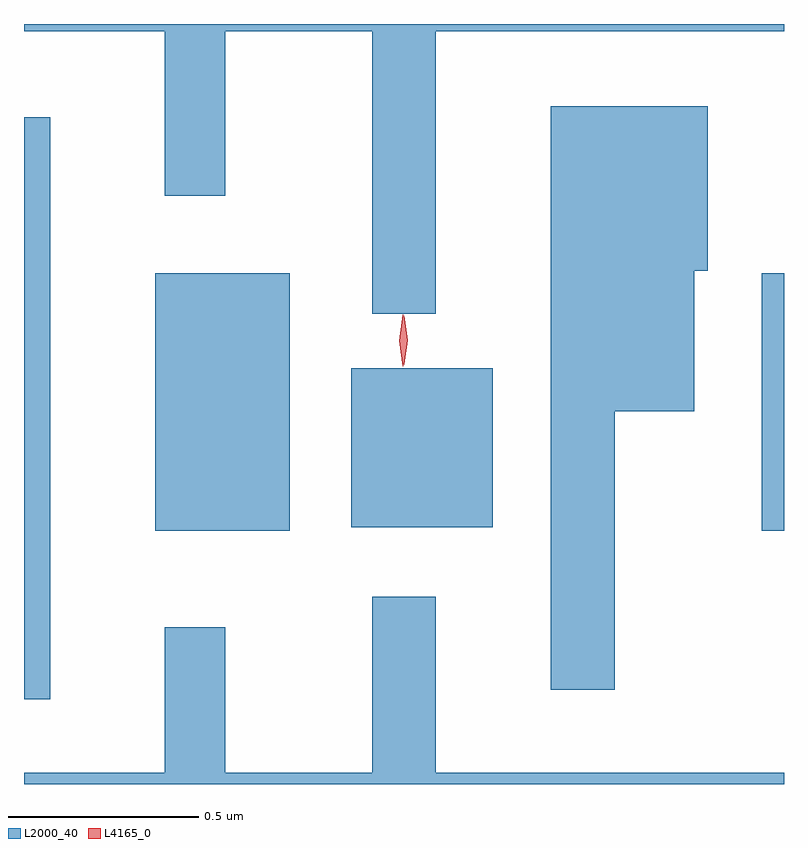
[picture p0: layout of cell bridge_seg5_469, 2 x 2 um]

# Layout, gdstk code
import gdstk
lib = gdstk.Library(unit=1e-6, precision=1e-09)
def R(c, l, rs):  # rectangles x0, y0, x1, y1
    for r in rs: c.add(gdstk.rectangle(r[:2], r[2:], *l))
def P(c, l, *ps):  # polygons
    for p in ps: c.add(gdstk.Polygon(p, *l))
L2000_40 = (2000, 40)
L4165_0 = (4165, 0)

bridge_seg5_469 = lib.new_cell('bridge_seg5_469')
R(bridge_seg5_469, L2000_40, [(312.855,1499.438,312.924,1500.969), (313.201,1499.881,313.554,1500.559), (314.796,1499.881,314.855,1500.559), (313.716,1499.891,314.089,1500.309)])
P(bridge_seg5_469, L2000_40, [(313.939,1501.196),(314.855,1501.196),(314.855,1501.215),(312.855,1501.215),(312.855,1501.196),(313.226,1501.196),(313.226,1500.763),(313.384,1500.763),(313.384,1501.196),(313.771,1501.196),(313.771,1500.453),(313.939,1500.453)],
  [(314.409,1500.196),(314.619,1500.196),(314.619,1500.566),(314.654,1500.566),(314.654,1500.999),(314.241,1500.999),(314.241,1499.463),(314.409,1499.463)],
  [(314.855,1499.244),(313.939,1499.244),(313.939,1499.708),(313.771,1499.708),(313.771,1499.244),(313.384,1499.244),(313.384,1499.628),(313.226,1499.628),(313.226,1499.244),(312.855,1499.244),(312.855,1499.215),(314.855,1499.215)])
P(bridge_seg5_469, L4165_0, [(313.852,1500.314),(313.843,1500.382),(313.852,1500.45),(313.853,1500.45),(313.853,1500.45),(313.863,1500.382),(313.853,1500.314),(313.853,1500.314)],
  [(313.855,1500.318),(313.855,1500.319),(313.845,1500.383),(313.855,1500.447),(313.855,1500.447),(313.856,1500.447),(313.865,1500.383),(313.856,1500.319)])

lib.write_gds('bridge_seg5_469.gds')
